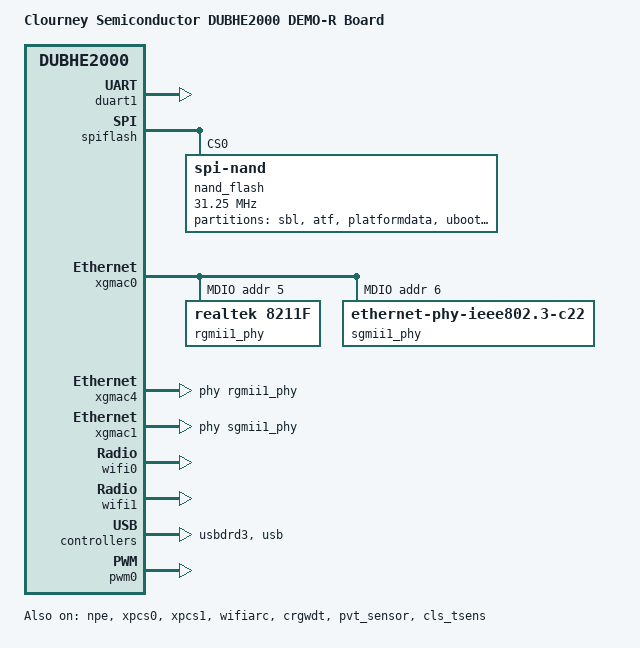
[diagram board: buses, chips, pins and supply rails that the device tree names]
// SPDX-License-Identifier: (GPL-2.0+ OR MIT)
/*
 * Device Tree Include file for Clourney dubhe2000 family SoC.
 *
 * Copyright (C) 2022-2024 Clourney Semiconductor - All Rights Reserved.
 *
 */

/dts-v1/;
#include "clourney-dubhe2000.dtsi"

/ {
	model = "Clourney Semiconductor DUBHE2000 DEMO-R Board";
	compatible = "clsemi,dubhe2000-demo-r", "clsemi,dubhe2000";

	aliases {
		serial0 = &duart1;
		spinand = &spiflash;
		pwm0 = &pwm0;
		pwm1 = &pwm1;
		pwm2 = &pwm2;
		pwm3 = &pwm3;
		pwm4 = &pwm4;
		pwm5 = &pwm5;
	};

	chosen {
		stdout-path = "serial0:115200n8";
	};
};

&duart1 {
	status = "ok";
};

&spiflash {
	rx-sample-delay-ns = <8>;
	status = "ok";

	nand_flash: flash@0 {
		compatible = "spi-nand";
		/* Avoid interference with 5G and 2.4G, not setting clk to  41.67MHz  */
		spi-max-frequency = <31250000>;
		reg = <0>;
		#address-cells = <1>;
		#size-cells = <1>;

		/*0.5MB*/
		partition@0 {
			label = "sbl";
			reg = <0x0 0x80000>;
		};

		/*0.5MB*/
		partition@1 {
			label = "atf";
			reg = <0x80000 0x80000>;
		};

		/*1MB*/
		partition@2 {
			label = "platformdata";
			reg = <0x100000 0x100000>;
		};

		/*2MB*/
		partition@3 {
			label = "uboot";
			reg = <0x200000 0x200000>;
		};

		/*1MB*/
		partition@4 {
			label = "caldata";
			reg = <0x400000 0x100000>;
		};

		/*1MB*/
		partition@5 {
			label = "caldata2";
			reg = <0x500000 0x100000>;
		};

		/*1.5MB*/
                partition@6 {
                        label = "ubootenv";
                        reg = <0x600000 0x180000>;
                };

		/*1.5MB*/
                partition@7 {
                        label = "boarddata";
                        reg = <0x780000 0x180000>;
                };

		/*32MB*/
                partition@8 {
                        label = "fw1";
                        reg = <0x900000 0x2000000>;
                };

		/*32MB*/
                partition@9 {
                        label = "fw2";
                        reg = <0x2900000 0x2000000>;
                };

		/*55MB*/
                partition@10 {
                        label = "reserved";
                        reg = <0x4900000 0x3700000>;
                };
	};
};

&npe  {
	status = "ok";
	switch-pause = <4>;
};

&xpcs0 {
        phy-mode = "2500base-x";
        status = "okay";
};

&xpcs1 {
        phy-mode = "sgmii";
        status = "okay";
};

&xgmac0 {
        mode = "non-rgmii";
        max-speed = <2500>;
        mac-address = [a0 c0 ab 39 cc f0];
        sfp;
        mdio-flags = <1>;
        clk_csr = <1>;
        status = "okay";
        mdio {
        compatible = "clourney,mdio";
        #address-cells = <1>;
        #size-cells = <0>;
        device_type = "mdio";
        status = "okay";
        rgmii1_phy: ethernet-phy@5 {
                 compatible = "realtek,8211f","ethernet-phy-ieee802.3-c22";
                 reg = <0x5>;
        };
        sgmii1_phy: ethernet-phy@6 {
                compatible = "ethernet-phy-ieee802.3-c22";
                reg = <0x6>;
        };
  };
};

&xgmac4 {
        mode = "rgmii";
        max-speed = <1000>;
        mdio-flags = <1>;
        phy-handle = <&rgmii1_phy>;
        rgmii-rx-delay = <1>;
        mdio-flags = <1>;
        status = "okay";
};

&xgmac1 {
        mode = "non-rgmii";
        max-speed = <2500>;
        phy-handle = <&sgmii1_phy>;
        mdio-flags = <1>;
        status = "okay";
};

&xgmac2 {
        status = "disabled";
};

&xgmac3 {
        status = "disabled";
};

&wifi0 { status = "ok"; };

&wifi1 { status = "ok"; };

&wifiarm { status = "disabled"; };

&wifiarc { status = "ok"; };

&crgwdt {
        timeout-sec = <WDT_TIMEOUT_S>;
        status = "ok";
};

&gpio0 { status = "ok"; };

&gpio1 { status = "ok"; };

&usbdrd3 { status = "ok";};

&usb {status = "ok"; };

&pwm0 { status = "ok"; };

&pvt_sensor {
	status = "ok";
        // T2
        temp_rise_alarm2_L = "102000";
        temp_rise_alarm2_H = "110000";
        temp_fall_alarm2_H = "110000";
        temp_fall_alarm2_L = "102000";
        // T0
        temp_rise_alarm0_L = "110000";
        temp_rise_alarm0_H = "118000";
        temp_fall_alarm0_H = "118000";
        temp_fall_alarm0_L = "110000";
        // T1
        temp_rise_alarm1_L = "118000";
        temp_rise_alarm1_H = "126000";
        temp_fall_alarm1_H = "126000";
        temp_fall_alarm1_L = "118000";
};

&cls_tsens {
	status = "ok";
        // T2
        temp_rise_alarm2_L = "102000";
        temp_rise_alarm2_H = "110000";
        temp_fall_alarm2_H = "110000";
        temp_fall_alarm2_L = "102000";
        // T0
        temp_rise_alarm0_L = "110000";
        temp_rise_alarm0_H = "118000";
        temp_fall_alarm0_H = "118000";
        temp_fall_alarm0_L = "110000";
        // T1
        temp_rise_alarm1_L = "118000";
        temp_rise_alarm1_H = "126000";
        temp_fall_alarm1_H = "126000";
        temp_fall_alarm1_L = "118000";
};

